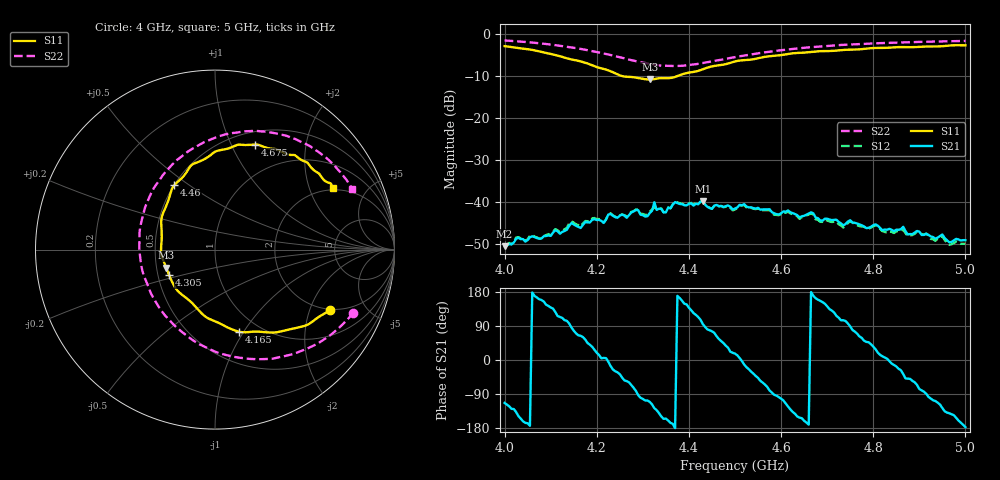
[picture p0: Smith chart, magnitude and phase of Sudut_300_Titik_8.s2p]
# Hz S RI R 50
! CMT, C1220, 16058040, 17.2.0/1
! Date: 15/08/2018 11:44:41
! Data: Format (Calibration Info)
! Freq  S11: Re/Im (F2)  S21: Re/Im (F2)  S12: Re/Im (F2)  S22: Re/Im (F2)
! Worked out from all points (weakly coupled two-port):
!   201 points, 4 GHz to 5 GHz, reference 50 ohm
!   highest |S21| = -39.88 dB at 4.43 GHz (marker M1); lowest = -50.6 dB at 4 GHz (marker M2)
!   lowest |S11| = -10.8 dB at 4.315 GHz (marker M3), VSWR 1.82, Z = 28.1 - j6.19 ohm
!   |S11| at or under -10 dB: 4.257 GHz to 4.374 GHz (116.6 MHz wide, 2.7 % of centre)
!   |S22| runs from -7.5 to -1.4 dB; largest |S21 - S12| = 0.0014
!   S11 on the Smith chart (normalised r, x): 4 GHz: 1.95, -2.77; 4.165 GHz: 0.80, -0.95; 4.305 GHz: 0.57, -0.18; 4.46 GHz: 0.50, +0.44; 4.675 GHz: 0.64, +1.23; 5 GHz: 1.92, +2.91
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4e9  0.6402 -0.3381  -0.00117 -0.00272  -0.00111 -0.00285  0.7715 -0.3505
4.03e9  0.5739 -0.3777  -0.00316 -0.00197  -0.00314 -0.00211  0.7132 -0.4146
4.12e9  0.2982 -0.4618  -0.00166 0.00383  -0.00187 0.00391  0.4561 -0.5741
4.145e9  0.2082 -0.4573  0.000401 0.00558  0.000198 0.00588  0.3622 -0.5985
4.165e9  0.133 -0.4575  0.00215 0.00439  0.00222 0.00457  0.2828 -0.6099
4.17e9  0.1173 -0.4529  0.00262 0.00463  0.00266 0.00486  0.2623 -0.6104
4.285e9  -0.2254 -0.2054  0.00114 -0.00792  0.00124 -0.00803  -0.2253 -0.4235
4.305e9  -0.2562 -0.1403  -0.00193 -0.00642  -0.00197 -0.00675  -0.2909 -0.351
4.315e9  -0.2716 -0.1008  -0.00258 -0.00691  -0.00271 -0.00715  -0.3202 -0.3081
4.325e9  -0.2854 -0.0661  -0.006 -0.00789  -0.00535 -0.00671  -0.3454 -0.2654
4.335e9  -0.2977 -0.0346  -0.00638 -0.00531  -0.0067 -0.00524  -0.3677 -0.2178
4.35e9  -0.3001 0.0145  -0.00681 -0.00323  -0.00692 -0.00305  -0.396 -0.147
4.37e9  -0.297 0.0918  -0.00995 -1.97e-05  -0.01 3.19e-05  -0.4165 -0.048
4.43e9  -0.2567 0.2849  -0.000897 0.0101  -0.000733 0.0101  -0.3875 0.2419
4.46e9  -0.2263 0.3593  0.00421 0.00818  0.00448 0.00804  -0.3273 0.3625
4.5e9  -0.1448 0.4529  0.00799 0.00241  0.00779 0.00231  -0.2242 0.4874
4.52e9  -0.1156 0.4799  0.00918 -0.00195  0.00897 -0.00204  -0.1672 0.534
4.64e9  0.1479 0.584  -0.00577 -0.00306  -0.00557 -0.00291  0.1822 0.6597
4.67e9  0.2135 0.5846  -0.00716 0.00136  -0.00689 0.00142  0.2582 0.6584
4.675e9  0.2217 0.5853  -0.00623 0.0019  -0.00588 0.00192  0.2706 0.6583
4.835e9  0.4851 0.497  0.00476 -0.00026  0.00445 -0.000245  0.5861 0.5367
5e9  0.6568 0.343  -0.00349 -0.000173  -0.00315 -0.00029  0.7656 0.3382
